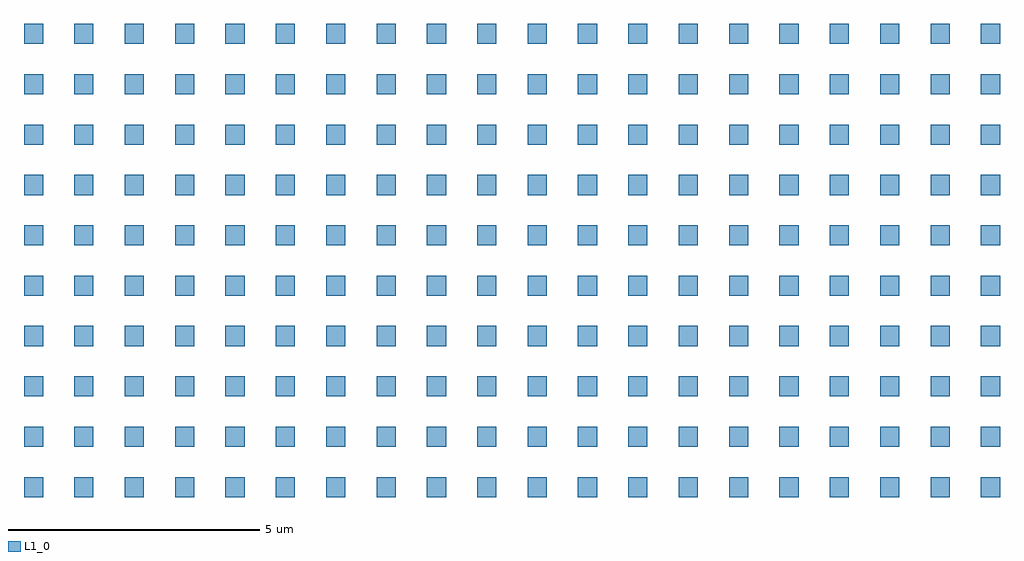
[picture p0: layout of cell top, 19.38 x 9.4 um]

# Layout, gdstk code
import gdstk
lib = gdstk.Library(unit=1e-6, precision=1e-09)
def R(c, l, rs):  # rectangles x0, y0, x1, y1
    for r in rs: c.add(gdstk.rectangle(r[:2], r[2:], *l))
def A(c, l, x, y, w, h, nx, ny, dx, dy):  # array of equal rectangles
    R(c, l, [(x+i*dx, y+j*dy, x+i*dx+w, y+j*dy+h) for i in range(nx) for j in range(ny)])
L1_0 = (1, 0)

top = lib.new_cell('top')
A(top, L1_0, -0.49, 0.37, 0.38, 0.4, 20, 10, 1, 1)

lib.write_gds('top.gds')
